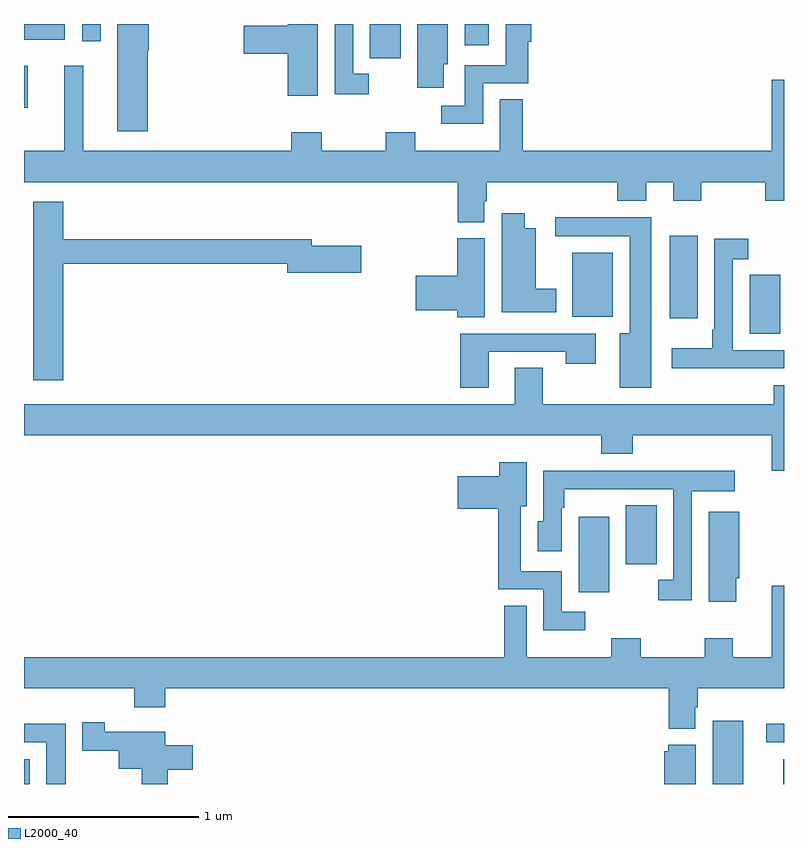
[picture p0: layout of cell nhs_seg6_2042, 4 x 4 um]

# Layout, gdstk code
import gdstk
lib = gdstk.Library(unit=1e-6, precision=1e-09)
def R(c, l, rs):  # rectangles x0, y0, x1, y1
    for r in rs: c.add(gdstk.rectangle(r[:2], r[2:], *l))
def P(c, l, *ps):  # polygons
    for p in ps: c.add(gdstk.Polygon(p, *l))
L2000_40 = (2000, 40)

nhs_seg6_2042 = lib.new_cell('nhs_seg6_2042')
R(nhs_seg6_2042, L2000_40, [(233,945.5,233.029,945.631), (236.624,945.5,236.785,945.832), (236.996,945.5,237,945.631), (236.907,945.72,237,945.818), (235.919,946.508,236.08,946.906), (236.168,946.656,236.329,946.967), (236.819,947.869,236.98,948.18), (236.399,947.952,236.545,948.385), (235.886,947.96,236.098,948.295), (233,949.059,233.021,949.279), (234.821,949.32,234.982,949.5), (235.32,949.389,235.447,949.5), (233.307,949.41,233.403,949.5), (233,949.418,233.215,949.5)])
P(nhs_seg6_2042, L2000_40, [(235.21,949.287),(235.231,949.287),(235.231,949.5),(235.07,949.5),(235.07,949.164),(235.21,949.164)],
  [(233.651,949.359),(233.656,949.359),(233.656,949.5),(233.492,949.5),(233.492,948.936),(233.651,948.936)],
  [(234.814,949.239),(234.732,949.239),(234.732,949.5),(234.636,949.5),(234.636,949.131),(234.814,949.131)],
  [(235.416,949.188),(235.654,949.188),(235.654,949.407),(235.67,949.407),(235.67,949.5),(235.535,949.5),(235.535,949.284),(235.32,949.284),(235.32,949.071),(235.197,949.071),(235.197,948.974),(235.416,948.974)],
  [(234.547,949.5),(234.389,949.5),(234.389,949.49),(234.156,949.49),(234.156,949.343),(234.389,949.343),(234.389,949.122),(234.547,949.122)],
  [(235.423,948.567),(235.436,948.567),(235.436,948.668),(236.123,948.668),(236.123,948.569),(236.275,948.569),(236.275,948.668),(236.417,948.668),(236.417,948.569),(236.565,948.569),(236.565,948.668),(236.902,948.668),(236.902,948.569),(237,948.569),(237,949.207),(236.936,949.207),(236.936,948.832),(235.624,948.832),(235.624,949.103),(235.505,949.103),(235.505,948.832),(235.059,948.832),(235.059,948.931),(234.904,948.931),(234.904,948.832),(234.567,948.832),(234.567,948.931),(234.407,948.931),(234.407,948.832),(233.312,948.832),(233.312,949.279),(233.213,949.279),(233.213,948.832),(233,948.832),(233,948.668),(235.283,948.668),(235.283,948.457),(235.423,948.457)],
  [(233.207,948.238),(234.386,948.238),(234.386,948.191),(234.775,948.191),(234.775,948.333),(234.514,948.333),(234.514,948.367),(233.207,948.367),(233.207,948.565),(233.048,948.565),(233.048,947.625),(233.207,947.625)],
  [(235.801,948.106),(235.693,948.106),(235.693,948.424),(235.636,948.424),(235.636,948.505),(235.514,948.505),(235.514,947.984),(235.801,947.984)],
  [(236.302,948.482),(235.797,948.482),(235.797,948.384),(236.189,948.384),(236.189,947.872),(236.135,947.872),(236.135,947.586),(236.302,947.586)],
  [(235.426,948.372),(235.28,948.372),(235.28,948.176),(235.062,948.176),(235.062,947.993),(235.28,947.993),(235.28,947.956),(235.426,947.956)],
  [(236.827,947.688),(237,947.688),(237,947.784),(236.73,947.784),(236.73,948.261),(236.812,948.261),(236.812,948.37),(236.634,948.37),(236.634,947.89),(236.622,947.89),(236.622,947.794),(236.409,947.794),(236.409,947.687),(236.827,947.687)],
  [(235.447,947.775),(235.852,947.775),(235.852,947.712),(236.008,947.712),(236.008,947.871),(235.295,947.871),(235.295,947.586),(235.447,947.586)],
  [(237,947.599),(236.945,947.599),(236.945,947.5),(235.731,947.5),(235.731,947.69),(235.583,947.69),(235.583,947.5),(233,947.5),(233,947.336),(236.039,947.336),(236.039,947.237),(236.204,947.237),(236.204,947.336),(236.936,947.336),(236.936,947.148),(237,947.148)],
  [(235.954,946.407),(235.83,946.407),(235.83,946.62),(235.615,946.62),(235.615,946.961),(235.645,946.961),(235.645,947.194),(235.502,947.194),(235.502,947.119),(235.284,947.119),(235.284,946.949),(235.497,946.949),(235.497,946.524),(235.734,946.524),(235.734,946.31),(235.954,946.31)],
  [(236.514,947.042),(236.74,947.042),(236.74,947.15),(236.321,947.15),(236.321,947.148),(235.955,947.148),(235.955,947.15),(235.734,947.15),(235.734,946.884),(235.703,946.884),(235.703,946.725),(235.83,946.725),(235.83,946.955),(235.843,946.955),(235.843,947.051),(236.072,947.051),(236.072,947.052),(236.418,947.052),(236.418,946.575),(236.337,946.575),(236.337,946.467),(236.514,946.467)],
  [(236.749,946.584),(236.764,946.584),(236.764,946.933),(236.603,946.933),(236.603,946.458),(236.749,946.458)],
  [(236.533,945.903),(236.546,945.903),(236.546,946.004),(237,946.004),(237,946.543),(236.936,946.543),(236.936,946.168),(236.731,946.168),(236.731,946.267),(236.584,946.267),(236.584,946.168),(236.247,946.168),(236.247,946.267),(236.092,946.267),(236.092,946.168),(235.645,946.168),(235.645,946.439),(235.527,946.439),(235.527,946.168),(233,946.168),(233,946.004),(233.579,946.004),(233.579,945.905),(233.744,945.905),(233.744,946.004),(236.393,946.004),(236.393,945.791),(236.533,945.791)],
  [(233.756,945.574),(233.887,945.574),(233.887,945.703),(233.743,945.703),(233.743,945.775),(233.424,945.775),(233.424,945.826),(233.306,945.826),(233.306,945.676),(233.498,945.676),(233.498,945.581),(233.621,945.581),(233.621,945.5),(233.756,945.5)],
  [(233.221,945.818),(233,945.818),(233,945.72),(233.117,945.72),(233.117,945.5),(233.221,945.5)],
  [(236.536,945.706),(236.39,945.706),(236.39,945.672),(236.369,945.672),(236.369,945.5),(236.536,945.5)])

lib.write_gds('nhs_seg6_2042.gds')
